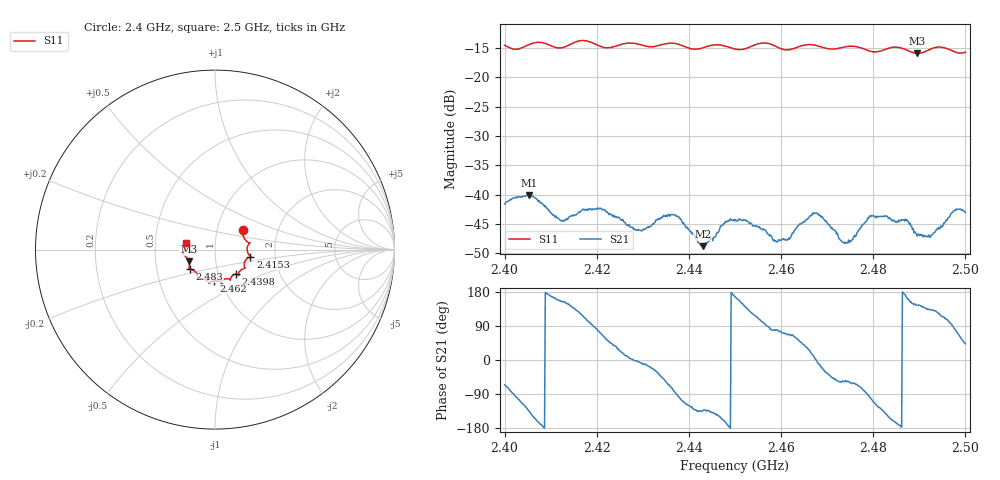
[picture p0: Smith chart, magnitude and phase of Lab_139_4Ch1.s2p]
# Hz S RI R 50
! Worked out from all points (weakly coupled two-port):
!   601 points, 2.4 GHz to 2.5 GHz, reference 50 ohm
!   highest |S21| = -40.08 dB at 2.4053 GHz (marker M1); lowest = -48.8 dB at 2.443 GHz (marker M2)
!   lowest |S11| = -15.9 dB at 2.4895 GHz (marker M3), VSWR 1.38, Z = 36.9 - j4.98 ohm
!   |S11| at or under -10 dB: start of sweep to end of sweep
!   S12 and S22 are empty: the file has one direction only
!   S11 on the Smith chart (normalised r, x): 2.4 GHz: 1.33, +0.29; 2.4153 GHz: 1.48, -0.12; 2.4398 GHz: 1.21, -0.34; 2.462 GHz: 0.93, -0.33; 2.483 GHz: 0.74, -0.17; 2.5 GHz: 0.72, +0.06
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2.4e9  0.1554 0.1065  0.00341 -0.00757  0 0  0 0
2.405333e9  0.187 0.0394  -0.00707 -0.00694  0 0  0 0
2.412333e9  0.1791 -0.00507  -0.0054 0.00253  0 0  0 0
2.415333e9  0.1968 -0.0386  -0.00469 0.00478  0 0  0 0
2.416667e9  0.2023 -0.0428  -0.00363 0.00634  0 0  0 0
2.421167e9  0.1736 -0.0557  0.00298 0.0068  0 0  0 0
2.429167e9  0.1603 -0.1059  0.00497 -0.000416  0 0  0 0
2.433333e9  0.1313 -0.1337  0.00505 -0.0037  0 0  0 0
2.436833e9  0.1322 -0.1441  0.000815 -0.0067  0 0  0 0
2.439833e9  0.1153 -0.1365  -0.0025 -0.0044  0 0  0 0
2.443e9  0.0892 -0.1552  -0.00251 -0.00262  0 0  0 0
2.45e9  0.0647 -0.1625  -0.00581 0.00134  0 0  0 0
2.458833e9  0.0319 -0.1818  0.000716 0.00398  0 0  0 0
2.462e9  -0.00537 -0.1732  0.0018 0.00389  0 0  0 0
2.466667e9  -0.0342 -0.1875  0.00639 0.00184  0 0  0 0
2.474e9  -0.0876 -0.1607  0.00227 -0.00321  0 0  0 0
2.479333e9  -0.1051 -0.1303  -0.00101 -0.00649  0 0  0 0
2.483e9  -0.1378 -0.1095  -0.00535 -0.00377  0 0  0 0
2.483333e9  -0.1402 -0.1093  -0.00541 -0.00313  0 0  0 0
2.4895e9  -0.1464 -0.0657  -0.0036 0.00259  0 0  0 0
2.492333e9  -0.1711 -0.0319  -0.00295 0.00314  0 0  0 0
2.5e9  -0.1596 0.0393  0.00519 0.00477  0 0  0 0
